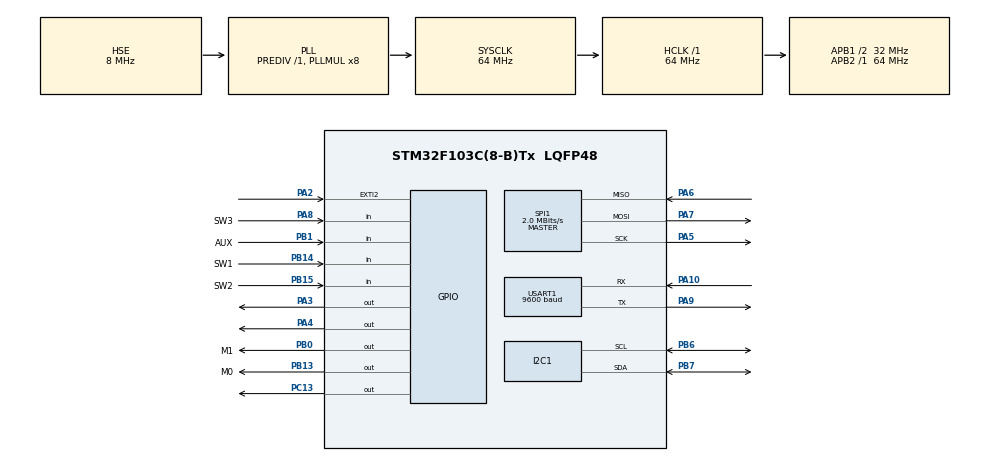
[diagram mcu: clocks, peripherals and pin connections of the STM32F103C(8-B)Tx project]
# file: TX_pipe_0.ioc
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Mcu.Family=STM32F1
RCC.PLLSourceVirtual=RCC_PLLSOURCE_HSE
PA6.Mode=Full_Duplex_Master
PA7.Mode=Full_Duplex_Master
PD1-OSC_OUT.Mode=HSE-External-Oscillator
PA10.Mode=Asynchronous
SPI1.VirtualType=VM_MASTER
USART1.BaudRate=9600
PB14.GPIO_Label=SW1
PC13-TAMPER-RTC.Signal=GPIO_Output
PB0.GPIO_Label=M1
PD0-OSC_IN.Signal=RCC_OSC_IN
RCC.APB1CLKDivider=RCC_HCLK_DIV2
PB13.GPIO_Label=M0
PA3.GPIO_Speed=GPIO_SPEED_FREQ_HIGH
PB13.Signal=GPIO_Output
PB15.Signal=GPIO_Input
RCC.SYSCLKSource=RCC_SYSCLKSOURCE_PLLCLK
ProjectManager.StackSize=0x400
PD1-OSC_OUT.Signal=RCC_OSC_OUT
PA13.Signal=SYS_JTMS-SWDIO
PA9.Mode=Asynchronous
PA8.GPIO_Label=SW3
PA4.PinState=GPIO_PIN_SET
ProjectManager.TargetToolchain=STM32CubeIDE
SPI1.Direction=SPI_DIRECTION_2LINES
RCC.HCLKFreq_Value=64000000
RCC.APB2TimFreq_Value=64000000
PA9.Signal=USART1_TX
PB6.Signal=I2C1_SCL
PB6.Mode=I2C
SPI1.CalculateBaudRate=2.0 MBits/s
RCC.USBFreq_Value=64000000
RCC.AHBFreq_Value=64000000
PD0-OSC_IN.Mode=HSE-External-Oscillator
PB14.Signal=GPIO_Input
PA5.Signal=SPI1_SCK
board=custom
RCC.PLLMUL=RCC_PLL_MUL8
PA4.GPIO_Speed=GPIO_SPEED_FREQ_HIGH
RCC.APB2Freq_Value=64000000
PB15.GPIO_Label=SW2
SPI1.Mode=SPI_MODE_MASTER
PA14.Mode=Serial_Wire
PB1.GPIO_Label=AUX
PB7.Signal=I2C1_SDA
PA8.Signal=GPIO_Input
PA13.Mode=Serial_Wire
Mcu.Name=STM32F103C(8-B)Tx
PA2.Signal=GPXTI2
PA4.Signal=GPIO_Output
RCC.SYSCLKFreq_VALUE=64000000
Mcu.Package=LQFP48
PA6.Signal=SPI1_MISO
PB1.Signal=GPIO_Input
USART1.VirtualMode=VM_ASYNC
PB7.Mode=I2C
PA10.Signal=USART1_RX
PA14.Signal=SYS_JTCK-SWCLK
ProjectManager.HeapSize=0x200
NVIC.PriorityGroup=NVIC_PRIORITYGROUP_4
RCC.APB1TimFreq_Value=64000000
NVIC.USART1_IRQn=true\:0\:0\:false\:false\:true\:true\:true
RCC.APB1Freq_Value=32000000
SPI1.BaudRatePrescaler=SPI_BAUDRATEPRESCALER_32
PB0.Signal=GPIO_Output
PA3.Signal=GPIO_Output
PA7.Signal=SPI1_MOSI
PA5.Mode=Full_Duplex_Master

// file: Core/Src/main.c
/* USER CODE BEGIN Header */
/**
  ******************************************************************************
  * @file           : main.c
  * @brief          : Main program body
  ******************************************************************************
  * @attention
  *
  * <h2><center>&copy; Copyright (c) 2021 STMicroelectronics.
  * All rights reserved.</center></h2>
  *
  * This software component is licensed by ST under BSD 3-Clause license,
  * the "License"; You may not use this file except in compliance with the
  * License. You may obtain a copy of the License at:
  *                        opensource.org/licenses/BSD-3-Clause
  *
  ******************************************************************************
  */
/* USER CODE END Header */
#include "main.h"

/* USER CODE BEGIN Includes */
#include <OLED/fonts.h>
#include <OLED/oled_ssd1306.h>
#include <OLED/ssd1306.h>
#include <LoRa_E220_900T22D/e220_900t22d.h>
/* USER CODE END Includes */

/* USER CODE BEGIN PTD */
#define off 0
#define on 1

#define nrf on
#define lora off

char uart_rx_data[50] = {0};			// Main rx buffer data
char str[1] = {0};						// Buffer for one char
bool flag_command_received = false;		// Flag show status receive data (completed/not completed)
uint8_t rx_data_counter = 0;

int transmeet_count = 0;
/* USER CODE END PTD */

I2C_HandleTypeDef hi2c1;

SPI_HandleTypeDef hspi1;

UART_HandleTypeDef huart1;

void SystemClock_Config(void);
static void MX_GPIO_Init(void);
static void MX_I2C1_Init(void);
static void MX_SPI1_Init(void);
static void MX_USART1_UART_Init(void);

int main(void)
{

  /* MCU Configuration--------------------------------------------------------*/

  /* Reset of all peripherals, Initializes the Flash interface and the Systick. */
  HAL_Init();

  /* Configure the system clock */
  SystemClock_Config();

  /* Initialize all configured peripherals */
  MX_GPIO_Init();
  MX_I2C1_Init();
  MX_SPI1_Init();
  MX_USART1_UART_Init();

  /* Infinite loop */
  /* USER CODE BEGIN WHILE */

  HAL_NVIC_SetPriority(USART1_IRQn, 0, 0);
  HAL_NVIC_EnableIRQ(USART1_IRQn);

  ssd1306_Init();
  ssd1306_Fill(Black);
  ssd1306_UpdateScreen();

#if nrf
  // Test write on OLED
  ssd1306_SetCursor(0, 0);
  char test_main[20] = {0};
  strcpy(test_main, "NRF24L01 TX");
  ssd1306_WriteString(test_main,  Font_7x10, White);
  ssd1306_UpdateScreen();

//  NRF24_ini();
//  read_config_registers();
#endif

#if lora
  ssd1306_SetCursor(0, 0);
  char test_main[50] = {0};
  strcpy(test_main, "LoRa TX:");
  ssd1306_WriteString(test_main,  Font_7x10, White);
  ssd1306_UpdateScreen();

  HAL_Delay(1000);
  init_TX_mode_lora();

  ssd1306_SetCursor(65, 0);
  strcpy(test_main, "Ready");
  ssd1306_WriteString(test_main,  Font_7x10, White);
  ssd1306_UpdateScreen();

  ssd1306_SetCursor(0, 16);
  strcpy(test_main, "TX data: ");
  ssd1306_WriteString(test_main,  Font_7x10, White);
  ssd1306_UpdateScreen();

  HAL_UART_Receive_IT(&huart1, str, 1);
#endif

  while (1)
  {
	#if nrf
  nrf_communication_test();       // Main function LORA
	#endif

	#if lora
 	  int count = lora_transmit_data();
// 	  // Print transmeeting data
 	  memset(test_main, 0, sizeof(test_main));
 	  ssd1306_SetCursor(60, 16);
 	  sprintf(test_main, "%d", count);
 	  ssd1306_WriteString(test_main,  Font_7x10, White);
 	  ssd1306_UpdateScreen();

 	  HAL_Delay(2000);			// Must be more than 1.5 sec

 	// Buttons test	 /////////////////////////////
    if(HAL_GPIO_ReadPin(GPIOB, SW1_Pin) == 0)	// if button pressed
    {
    	int g = 99;
    }
    if(HAL_GPIO_ReadPin(GPIOB, SW2_Pin) == 0)	// if button pressed
    {
    	int h = 99;
    }
    if(HAL_GPIO_ReadPin(GPIOA, SW3_Pin) == 0)	// if button pressed
    {
    	int j = 99;
    }

	#endif
    /* USER CODE END WHILE */

  }
}

void SystemClock_Config(void)
{
  RCC_OscInitTypeDef RCC_OscInitStruct = {0};
  RCC_ClkInitTypeDef RCC_ClkInitStruct = {0};

  /** Initializes the RCC Oscillators according to the specified parameters
  * in the RCC_OscInitTypeDef structure.
  */
  RCC_OscInitStruct.OscillatorType = RCC_OSCILLATORTYPE_HSE;
  RCC_OscInitStruct.HSEState = RCC_HSE_ON;
  RCC_OscInitStruct.HSEPredivValue = RCC_HSE_PREDIV_DIV1;
  RCC_OscInitStruct.HSIState = RCC_HSI_ON;
  RCC_OscInitStruct.PLL.PLLState = RCC_PLL_ON;
  RCC_OscInitStruct.PLL.PLLSource = RCC_PLLSOURCE_HSE;
  RCC_OscInitStruct.PLL.PLLMUL = RCC_PLL_MUL8;
  if (HAL_RCC_OscConfig(&RCC_OscInitStruct) != HAL_OK)
  {
    Error_Handler();
  }
  /** Initializes the CPU, AHB and APB buses clocks
  */
  RCC_ClkInitStruct.ClockType = RCC_CLOCKTYPE_HCLK|RCC_CLOCKTYPE_SYSCLK
                              |RCC_CLOCKTYPE_PCLK1|RCC_CLOCKTYPE_PCLK2;
  RCC_ClkInitStruct.SYSCLKSource = RCC_SYSCLKSOURCE_PLLCLK;
  RCC_ClkInitStruct.AHBCLKDivider = RCC_SYSCLK_DIV1;
  RCC_ClkInitStruct.APB1CLKDivider = RCC_HCLK_DIV2;
  RCC_ClkInitStruct.APB2CLKDivider = RCC_HCLK_DIV1;

  if (HAL_RCC_ClockConfig(&RCC_ClkInitStruct, FLASH_LATENCY_2) != HAL_OK)
  {
    Error_Handler();
  }
}

static void MX_I2C1_Init(void)
{

  hi2c1.Instance = I2C1;
  hi2c1.Init.ClockSpeed = 100000;
  hi2c1.Init.DutyCycle = I2C_DUTYCYCLE_2;
  hi2c1.Init.OwnAddress1 = 0;
  hi2c1.Init.AddressingMode = I2C_ADDRESSINGMODE_7BIT;
  hi2c1.Init.DualAddressMode = I2C_DUALADDRESS_DISABLE;
  hi2c1.Init.OwnAddress2 = 0;
  hi2c1.Init.GeneralCallMode = I2C_GENERALCALL_DISABLE;
  hi2c1.Init.NoStretchMode = I2C_NOSTRETCH_DISABLE;
  if (HAL_I2C_Init(&hi2c1) != HAL_OK)
  {
    Error_Handler();
  }

}

static void MX_SPI1_Init(void)
{

  /* SPI1 parameter configuration*/
  hspi1.Instance = SPI1;
  hspi1.Init.Mode = SPI_MODE_MASTER;
  hspi1.Init.Direction = SPI_DIRECTION_2LINES;
  hspi1.Init.DataSize = SPI_DATASIZE_8BIT;
  hspi1.Init.CLKPolarity = SPI_POLARITY_LOW;
  hspi1.Init.CLKPhase = SPI_PHASE_1EDGE;
  hspi1.Init.NSS = SPI_NSS_SOFT;
  hspi1.Init.BaudRatePrescaler = SPI_BAUDRATEPRESCALER_32;
  hspi1.Init.FirstBit = SPI_FIRSTBIT_MSB;
  hspi1.Init.TIMode = SPI_TIMODE_DISABLE;
  hspi1.Init.CRCCalculation = SPI_CRCCALCULATION_DISABLE;
  hspi1.Init.CRCPolynomial = 10;
  if (HAL_SPI_Init(&hspi1) != HAL_OK)
  {
    Error_Handler();
  }

}

static void MX_USART1_UART_Init(void)
{

  huart1.Instance = USART1;
  huart1.Init.BaudRate = 9600;
  huart1.Init.WordLength = UART_WORDLENGTH_8B;
  huart1.Init.StopBits = UART_STOPBITS_1;
  huart1.Init.Parity = UART_PARITY_NONE;
  huart1.Init.Mode = UART_MODE_TX_RX;
  huart1.Init.HwFlowCtl = UART_HWCONTROL_NONE;
  huart1.Init.OverSampling = UART_OVERSAMPLING_16;
  if (HAL_UART_Init(&huart1) != HAL_OK)
  {
    Error_Handler();
  }

}

static void MX_GPIO_Init(void)
{
  GPIO_InitTypeDef GPIO_InitStruct = {0};

  /* GPIO Ports Clock Enable */
  __HAL_RCC_GPIOC_CLK_ENABLE();
  __HAL_RCC_GPIOD_CLK_ENABLE();
  __HAL_RCC_GPIOA_CLK_ENABLE();
  __HAL_RCC_GPIOB_CLK_ENABLE();

  /*Configure GPIO pin Output Level */
  HAL_GPIO_WritePin(GPIOC, GPIO_PIN_13, GPIO_PIN_RESET);

  /*Configure GPIO pin Output Level */
  HAL_GPIO_WritePin(GPIOA, GPIO_PIN_3, GPIO_PIN_RESET);

  /*Configure GPIO pin Output Level */
  HAL_GPIO_WritePin(GPIOA, GPIO_PIN_4, GPIO_PIN_SET);

  /*Configure GPIO pin Output Level */
  HAL_GPIO_WritePin(GPIOB, M1_Pin|M0_Pin, GPIO_PIN_RESET);

  /*Configure GPIO pin : PC13 */
  GPIO_InitStruct.Pin = GPIO_PIN_13;
  GPIO_InitStruct.Mode = GPIO_MODE_OUTPUT_PP;
  GPIO_InitStruct.Pull = GPIO_NOPULL;
  GPIO_InitStruct.Speed = GPIO_SPEED_FREQ_LOW;
  HAL_GPIO_Init(GPIOC, &GPIO_InitStruct);

  /*Configure GPIO pin : PA2 */
  GPIO_InitStruct.Pin = GPIO_PIN_2;
  GPIO_InitStruct.Mode = GPIO_MODE_IT_RISING;
  GPIO_InitStruct.Pull = GPIO_NOPULL;
  HAL_GPIO_Init(GPIOA, &GPIO_InitStruct);

  /*Configure GPIO pins : PA3 PA4 */
  GPIO_InitStruct.Pin = GPIO_PIN_3|GPIO_PIN_4;
  GPIO_InitStruct.Mode = GPIO_MODE_OUTPUT_PP;
  GPIO_InitStruct.Pull = GPIO_NOPULL;
  GPIO_InitStruct.Speed = GPIO_SPEED_FREQ_HIGH;
  HAL_GPIO_Init(GPIOA, &GPIO_InitStruct);

  /*Configure GPIO pins : M1_Pin M0_Pin */
  GPIO_InitStruct.Pin = M1_Pin|M0_Pin;
  GPIO_InitStruct.Mode = GPIO_MODE_OUTPUT_PP;
  GPIO_InitStruct.Pull = GPIO_NOPULL;
  GPIO_InitStruct.Speed = GPIO_SPEED_FREQ_LOW;
  HAL_GPIO_Init(GPIOB, &GPIO_InitStruct);

  /*Configure GPIO pins : AUX_Pin SW1_Pin SW2_Pin */
  GPIO_InitStruct.Pin = AUX_Pin|SW1_Pin|SW2_Pin;
  GPIO_InitStruct.Mode = GPIO_MODE_INPUT;
  GPIO_InitStruct.Pull = GPIO_NOPULL;
  HAL_GPIO_Init(GPIOB, &GPIO_InitStruct);

  /*Configure GPIO pin : SW3_Pin */
  GPIO_InitStruct.Pin = SW3_Pin;
  GPIO_InitStruct.Mode = GPIO_MODE_INPUT;
  GPIO_InitStruct.Pull = GPIO_NOPULL;
  HAL_GPIO_Init(SW3_GPIO_Port, &GPIO_InitStruct);

}

/* USER CODE BEGIN 4 */

//----------------------------------------------------------------------------------------
// If data received (Received 1 bytes)        Define in: HAL_UART_Receive_IT(&huart1, str, 1);
//void HAL_UART_RxCpltCallback(UART_HandleTypeDef *huart)
//{
//	if(huart == &huart1)											// Which uart generate Callback function
//	{
//		if((str[0] == '\0') || (str[0] == 13) || (rx_data_counter >= sizeof(uart_rx_data)))   		// Detect '\0' Null or "Enter" or rx data too long
//		{
//			flag_command_received = true;                          // Data is ready
//			rx_data_counter = 0;
//		}
//		else
//		{
//			flag_command_received = false;							// Receive data
//			uart_rx_data[rx_data_counter] = str[0];					// Save data in global buffer
//			HAL_UART_Receive_IT(&huart1, str, 1);					// Turn on "HAL_UART_Receive_IT"
//			rx_data_counter ++;
//		}
//	}
//}
//----------------------------------------------------------------------------------------

/* USER CODE END 4 */

void Error_Handler(void)
{
  __disable_irq();
  while (1)
  {
  }
}

/************************ (C) COPYRIGHT STMicroelectronics *****END OF FILE****/
